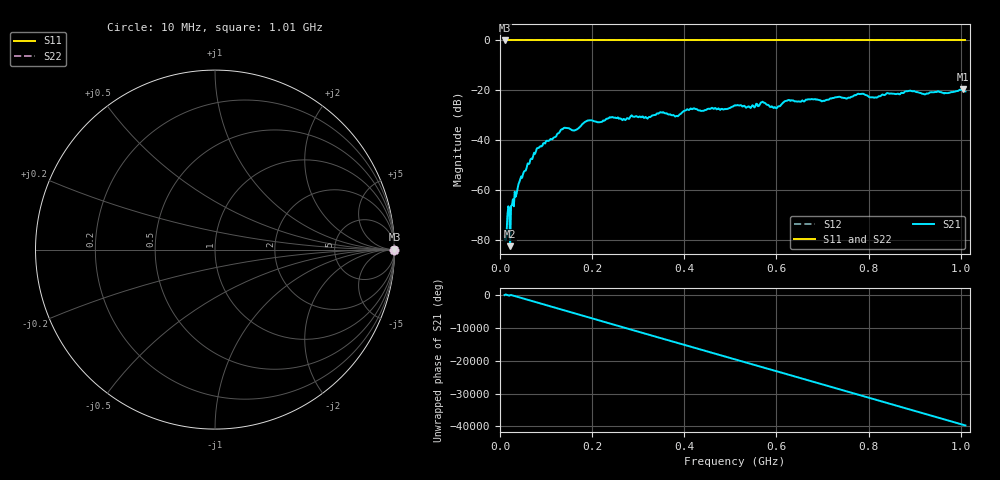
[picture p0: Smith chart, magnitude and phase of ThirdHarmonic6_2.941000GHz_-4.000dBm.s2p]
! 8/17/2025 8:14:27 AM
! C:\ANRITSUVNA\TEMP\TEMP.S2P
! CHANNEL.1
! TR.MEASUREMENT
! RAW.DATA
! RF.CORRECTION.OFF
! AVERAGING.OFF
! IF.BANDWIDTH: 5KHZ
! SWEEPTYPE:  FREQ.SWEEP(Linear)
! Reference Plane Port Info
! PORT:  PORT1  PORT2
! DISTANCE:  0  m  0  m
! TIME:  0  s  0  s
! PHASE.OFFSET:  0  deg.  0  deg.
! LOSS:  0  dB  0  dB
! REF.LOSS:  0  dB  0  dB
! REF.FREQ:  0  Hz  0  Hz
! Power Info
! POWER:  -20  dBm  -20  dBm
! EFF.POWER:  -20  dBm  -20  dBm
! SOURCE.ATTEN:  0  dB  0  dB
! TEST.ATTEN:  0  dB  0  dB
# GHZ S RI R 50.0
! FREQ.GHZ  S11RE  S11IM  S21RE  S21IM  S12RE  S12IM  S22RE  S22IM
!; PortSelection: Port_12
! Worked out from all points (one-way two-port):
!   501 points, 10 MHz to 1.01 GHz, reference 50 ohm
!   highest |S21| = -19.67 dB at 1.004 GHz (marker M1); lowest = -82.7 dB at 22 MHz (marker M2)
!   lowest |S11| = 0.0 dB at 10 MHz (marker M3)
!   |S11| at or under -10 dB: nowhere
!   |S22| runs from 0.0 to 0.0 dB; largest |S21 - S12| = 1.1
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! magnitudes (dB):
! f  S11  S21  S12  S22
! 10 MHz  0.0  -78.7  0.0  0.0
! 16 MHz  0.0  -70.5  0.0  0.0
! 22 MHz  0.0  -82.7  0.0  0.0
! 26 MHz  0.0  -66.1  0.0  0.0
! 28 MHz  0.0  -63.8  0.0  0.0
! 44 MHz  0.0  -55.8  0.0  0.0
! 82 MHz  0.0  -43.2  0.0  0.0
! 136 MHz  0.0  -35.7  0.0  0.0
! 162 MHz  0.0  -36.2  0.0  0.0
! 178 MHz  0.0  -33.7  0.0  0.0
! 194 MHz  0.0  -32.1  0.0  0.0
! 344 MHz  0.0  -29.4  0.0  0.0
! 384 MHz  0.0  -30.3  0.0  0.0
! 410 MHz  0.0  -28.0  0.0  0.0
! 510 MHz  0.0  -26.1  0.0  0.0
! 570 MHz  0.0  -24.6  0.0  0.0
! 598 MHz  0.0  -27.0  0.0  0.0
! 624 MHz  0.0  -24.1  0.0  0.0
! 678 MHz  0.0  -23.6  0.0  0.0
! 844 MHz  0.0  -21.3  0.0  0.0
! 1.004 GHz  0.0  -19.7  0.0  0.0
! 1.01 GHz  0.0  -20.4  0.0  0.0
